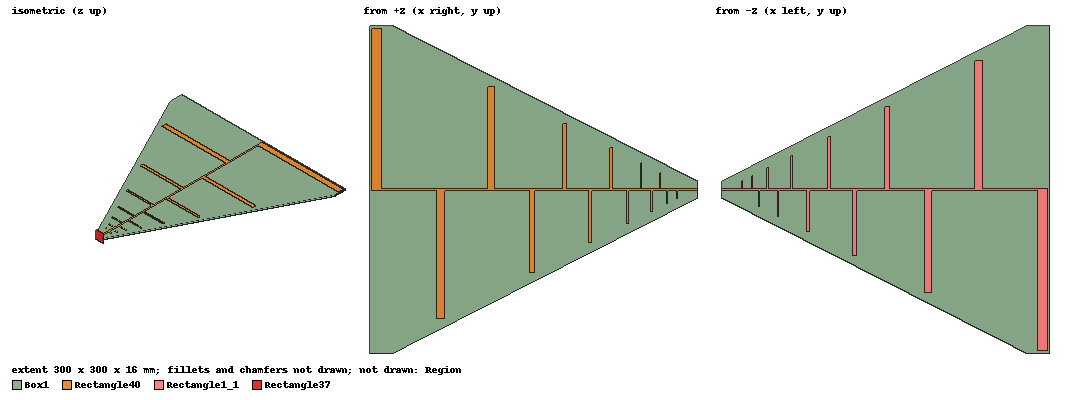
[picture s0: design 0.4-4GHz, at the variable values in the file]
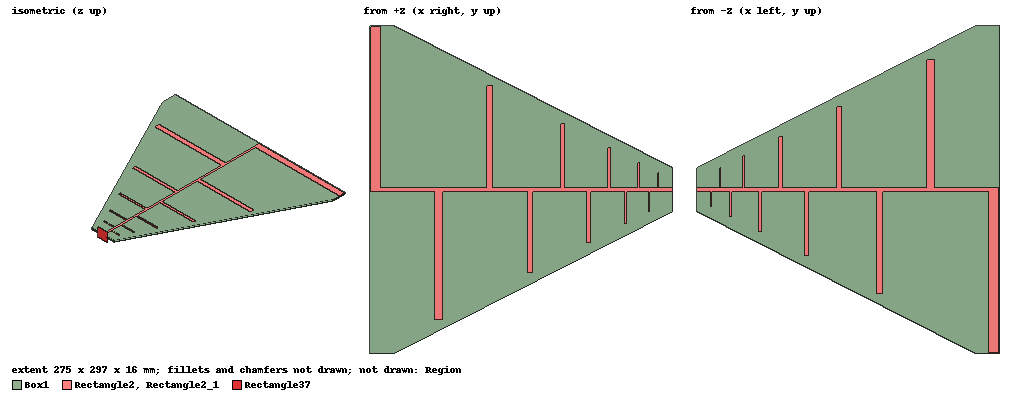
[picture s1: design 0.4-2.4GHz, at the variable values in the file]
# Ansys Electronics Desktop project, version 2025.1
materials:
  vacuum: permittivity=1
  FR4_epoxy: permittivity=4.4 dielectric_loss_tangent=0.02
  Rogers RO4350 (tm): permittivity=3.66 dielectric_loss_tangent=0.004
  Rogers RO4003 (tm): permittivity=3.55 dielectric_loss_tangent=0.0027
  pec: conductivity=1e+30

design 0.4-4GHz (HFSS, HFSS Terminal Network, model units mm)
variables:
  lx = 300mm
  ly = 300mm
  h0 = 1.6mm
  W0 = 2.5mm
  xbegin = -lx/2 + 2mm
  K1 = 1.01 -0.519 * tau0
  lambdamax = 500mm
  tau0 = 0.8  # optimise 0.78..0.81
  L0 = 295
  L1 = (L0) mm
  L2 = L0 * (tau0 ^ 1) mm
  L3 = L0 * (tau0 ^ 2) mm
  L4 = L0 * (tau0 ^ 3) mm
  L5 = L0 * (tau0 ^ 4) mm
  L6 = L0 * (tau0 ^ 5) mm
  L7 = L0 * (tau0 ^ 6) mm
  L8 = L0 * (tau0 ^ 7) mm
  L9 = L0 * (tau0 ^ 8) mm
  L10 = L0 * (tau0 ^ 9) mm
  L11 = L0 * (tau0 ^ 10) mm
  L12 = L0 * (tau0 ^ 11) mm
  L13 = L0 * (tau0 ^ 12) mm
  L14 = L0 * (tau0 ^ 13) mm
  L15 = L0 * (tau0 ^ 14) mm
  L16 = L0 * (tau0 ^ 15) mm
  L17 = L0 * (tau0 ^ 16) mm
  L18 = L0 * (tau0 ^ 17) mm
  L19 = L0 * (tau0 ^ 18) mm
  L20 = L0 * (tau0 ^ 19) mm
  L21 = L0 * (tau0 ^ 20) mm
  L22 = L0 * (tau0 ^ 21) mm
  L23 = L0 * (tau0 ^ 22) mm
  L24 = L0 * (tau0 ^ 23) mm
  L25 = L0 * (tau0 ^ 24) mm
  L26 = L0 * (tau0 ^ 25) mm
  L27 = L0 * (tau0 ^ 26) mm
  L28 = L0 * (tau0 ^ 27) mm
  L29 = L0 * (tau0 ^ 28) mm
  L30 = L0 * (tau0 ^ 29) mm
  L31 = L0 * (tau0 ^ 30) mm
  L32 = L0 * (tau0 ^ 31) mm
  L33 = L0 * (tau0 ^ 32) mm
  sigma0 = 0.1  # optimise 0.008..0.102
  d1 = 2 * L1 * sigma0
  d2 = d1 + 2 * L2 * sigma0
  d3 = d2 + 2 * L3 * sigma0
  d4 = d3 + 2 * L4 * sigma0
  d5 = d4 + 2 * L5 * sigma0
  d6 = d5 + 2 * L6 * sigma0
  d7 = d6 + 2 * L7 * sigma0
  d8 = d7 + 2 * L8 * sigma0
  d9 = d8 + 2 * L9 * sigma0
  d10 = d9 + 2 * L10 * sigma0
  d11 = d10 + 2 * L11 * sigma0
  d12 = d11 + 2 * L12 * sigma0
  d13 = d12 + 2 * L13 * sigma0
  d14 = d13 + 2 * L14 * sigma0
  d15 = d14 + 2 * L15 * sigma0
  d16 = d15 + 2 * L16 * sigma0
  d17 = d16 + 2 * L17 * sigma0
  lrho = 100
  W1 = L1 / lrho * pi
  hatl1 = 14mm
  hatw0 = 12mm
  hatl2 = 12mm
  hatl3 = 4mm
  W2 = L2 / lrho * pi
  W3 = L3 / lrho * pi
  W4 = L4 / lrho * pi
  d18 = d17 + 2 * L18 * sigma0
  d19 = d18 + 2 * L19 * sigma0
  d20 = d19 + 2 * L20 * sigma0
  d21 = d20 + 2 * L21 * sigma0
  d22 = d21 + 2 * L22 * sigma0
  d23 = d22 + 2 * L23 * sigma0
  d24 = d23 + 2 * L24 * sigma0
  d25 = d24 + 2 * L25 * sigma0
  d26 = d25 + 2 * L26 * sigma0
  d27 = d26 + 2 * L27 * sigma0
  d28 = d27 + 2 * L28 * sigma0
  d29 = d28 + 2 * L29 * sigma0
  d30 = d29 + 2 * L30 * sigma0
  d31 = d30 + 2 * L31 * sigma0
  d32 = d31 + 2 * L32 * sigma0
  d33 = d32 + 2 * L33 * sigma0
  mx = 8mm
  my = 0mm
  mx1 = 8mm
  my1 = 0mm
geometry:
  Box1 [FR4_epoxy] = box(corner=(-lx/2, -ly/2, 0mm), size=(lx, ly, -h0))
  Rectangle1 = rectangle(corner=(xbegin, W0/2, 0mm), x_size=lx / 2 - xbegin, y_size=-W0)
  Region [vacuum] = region(transverse_percentage_offset: +X=0, -X=50, +Y=50, -Y=50, +Z=50, -Z=50)
  Rectangle2 = rectangle(corner=(xbegin, 0mm, 0mm), x_size=W1, y_size=L1 / 2)
  Rectangle3 = rectangle(corner=(xbegin + d1, 0mm, 0mm), x_size=L2 / lrho * pi, y_size=-L2 / 2)
  Rectangle4 = rectangle(corner=(xbegin + d2, 0mm, 0mm), x_size=L3 / lrho * pi, y_size=L3 / 2)
  Rectangle5 = rectangle(corner=(xbegin + d3, 0mm, 0mm), x_size=L4 / lrho * pi, y_size=-L4 / 2)
  Rectangle6 = rectangle(corner=(xbegin + d4, 0mm, 0mm), x_size=L5 / lrho * pi, y_size=L5 / 2)
  Rectangle7 = rectangle(corner=(xbegin + d5, 0mm, 0mm), x_size=L6 / lrho * pi, y_size=-L6 / 2)
  Rectangle8 = rectangle(corner=(xbegin + d6, 0mm, 0mm), x_size=L7 / lrho * pi, y_size=L7 / 2)
  Rectangle9 = rectangle(corner=(xbegin + d7, 0mm, 0mm), x_size=L8 / lrho * pi, y_size=-L8 / 2)
  Rectangle10 = rectangle(corner=(xbegin + d8, 0mm, 0mm), x_size=L9 / lrho * pi, y_size=L9 / 2)
  Rectangle12 = rectangle(corner=(xbegin + d10, 0mm, 0mm), x_size=L11 / lrho * pi, y_size=L11 / 2)
  Rectangle11 = rectangle(corner=(xbegin + d9, 0mm, 0mm), x_size=L10 / lrho * pi, y_size=-L10 / 2)
  Rectangle13 = rectangle(corner=(xbegin + d11, 0mm, 0mm), x_size=L12 / lrho * pi, y_size=-L12 / 2)
  Rectangle37 = rectangle(corner=(lx/2-0mm, W0*3, h0 * 5), y_size=-W0 * 6, z_size=-h0 * 10)
  Rectangle14 = rectangle(corner=(xbegin + d12, 0mm, 0mm), x_size=L13 / lrho * pi, y_size=L13 / 2)
  Rectangle15 = rectangle(corner=(xbegin + d13, 0mm, 0mm), x_size=L14 / lrho * pi, y_size=-L14 / 2)
  Rectangle16 = rectangle(corner=(xbegin + d14, 0mm, 0mm), x_size=L15 / lrho * pi, y_size=L15 / 2)
  Rectangle1.unite(Rectangle3..Rectangle16, Rectangle2)
  Box2 = box(corner=(-200mm, 255mm, 0mm), size=(600mm, -180mm, -15mm))
  Box2.rotate(axis=Z, angle=-27deg)
  Box2_1 = Box2.duplicate_mirror(point=(0mm, 0mm, 0mm), normal=(0mm, -1mm, 0mm))
  Box2_1.unite(Box2)
  Box1.subtract(Box2_1)
  Rectangle38 = rectangle(corner=(xbegin + 30mm, 5mm, 0mm), x_size=mx, y_size=-10mm)
  Rectangle1.subtract(Rectangle38)
  Rectangle39 = rectangle(corner=(xbegin + 30mm, W0/2, 0mm), x_size=W0, y_size=-W0 - my)
  Rectangle40 = rectangle(corner=(xbegin + 30mm + mx, W0 / 2, 0mm), x_size=-W0, y_size=-W0 - my)
  Rectangle41 = rectangle(corner=(xbegin + 30mm + W0, -W0 / 2 - my, 0mm), x_size=mx - 2 * W0, y_size=W0)
  Rectangle42 = rectangle(corner=(xbegin + d1 + 20mm, 5mm, 0mm), x_size=mx1, y_size=-10mm)
  Rectangle43 = rectangle(corner=(xbegin + d1 + 20mm, W0/2, 0mm), x_size=W0, y_size=-W0 - my1)
  Rectangle44 = rectangle(corner=(xbegin + d1 + 20mm + mx, W0 / 2, 0mm), x_size=-W0, y_size=-W0 - my1)
  Rectangle45 = rectangle(corner=(xbegin + d1 + 20mm + W0, -W0 / 2 - my1, 0mm), x_size=mx1 - 2 * W0, y_size=W0)
  Rectangle1.subtract(Rectangle42)
  Rectangle1.chamfer(Vertices=Rectangle40.vertex(at (-138.732, 1.25, 0), at (-89, -1.25, 0), at (-81.5858, -1.25, 0), at (-41.8, 1.25, 0), at (-35.8687, 1.25, 0), at (-4.04, -1.25, 0), at (0.705062, -1.25, 0), at (26.168, 1.25, 0), at (29.964, 1.25, 0), at (50.3344, -1.25, 0), at (53.3712, -1.25, 0), at (69.6675, 1.25, 0)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) LeftDistance=W0 RightDistance=W0 ChamferType=Symmetric)
  Rectangle40.unite(Rectangle41, Rectangle39)
  Rectangle44.unite(Rectangle45, Rectangle43)
  Rectangle40_1 = Rectangle40.duplicate_mirror(point=(0mm, 0mm, 0.8mm), normal=(0mm, 0mm, 1mm))
  Rectangle44_1 = Rectangle44.duplicate_mirror(point=(0mm, 0mm, 0.8mm), normal=(0mm, 0mm, 1mm))
  Rectangle1_1 = Rectangle1.duplicate_mirror(point=(0mm, 0mm, 0.8mm), normal=(0mm, 0mm, 1mm))
  [Rectangle1_1, Rectangle40_1, Rectangle44_1].rotate(axis=X, angle=180deg)
  Rectangle40.unite(Rectangle1, Rectangle44)
  Rectangle1_1.unite(Rectangle44_1, Rectangle40_1)
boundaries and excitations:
  Rad1: Radiation Objects=Region
  PerfE5: Perfect E Objects=Rectangle1_1
  PerfE6: Perfect E Objects=Rectangle40
  1: Wave Port Objects=Rectangle37 WavePortType=Modal NumModes=1 Modes{Mode1{IntLine{(150000mm, 0mm, -2000mm) -> (150, 0, 8)} CharImp=Zpi}}
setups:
  Analysis: HfssDriven MultipleAdaptiveFreqsSetup{AdaptAt{Frequency=435MHz Delta=0.02} AdaptAt{Frequency=2.4GHz Delta=0.02}} MaximumPasses=25 MinimumPasses=1 MinimumConvergedPasses=1 PercentRefinement=30 BasisOrder=1 PortAccuracy=2 DrivenSolverType="Direct Solver"
    sweep Sweep: 200MHz to 6000MHz, 401 points; Type=Interpolating InterpTolerance=0.5 InterpMaxSolns=250 PassivityErrorTolerance=0.0001
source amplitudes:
  1:1: 1V 0deg
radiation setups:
  3d: Infinite Sphere Theta=0deg..180deg step 2deg Phi=-180deg..180deg step 2deg
  2d: Infinite Sphere Theta=0deg..180deg step 90deg Phi=-180deg..180deg step 2deg
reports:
  Terminal S Parameter Plot 1: dB(St(1,1)) vs Freq on Analysis : Sweep [W0=all tau0=all sigma0=all lrho=all mx=all my=all mx1=all my1=all]; markers MX3 at x=4.4497608e+08, MX1 at x=2.3971292e+09, MY1 at y=-10.0417
  Terminal Z Parameter Plot 1: mag(Zt(1,1)) vs Freq on Analysis : Sweep [W0=all mx=all my=all mx1=all my1=all]; markers MX1 at x=2.9807384e+09, MY1 at y=49.8102
  Realized Gain Plot 2: dB(RealizedGainTotal) vs Phi, Theta on Analysis : LastAdaptive, 3d
  Realized Gain Plot 4: dB(RealizedGainTotal) vs Phi on Analysis : LastAdaptive, 2d [Theta=90deg Freq=all]; markers MX1 at x=-3.1312459, MX2 at x=0.0054456451
  Terminal Port Zo Plot 2: mag(Zot(1,1)) vs Freq on Analysis : Sweep [W0=all]
  Realized Gain Plot 5: dB(RealizedGainTotal) vs Phi, Theta on Analysis : LastAdaptive, 3d

design 0.4-2.4GHz (HFSS, HFSS Modal Network, model units mm)
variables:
  lx = 275mm
  ly = 297mm
  h0 = 1.6mm
  W0 = 3mm
  xbegin = -lx/2 + 1mm
  K1 = 1.01 -0.519 * tau0
  lambdamax = 500mm
  tau0 = 0.799  # optimise 0.78..0.81
  L0 = 295
  L1 = (L0) mm
  L2 = L0 * (tau0 ^ 1) mm
  L3 = L0 * (tau0 ^ 2) mm
  L4 = L0 * (tau0 ^ 3) mm
  L5 = L0 * (tau0 ^ 4) mm
  L6 = L0 * (tau0 ^ 5) mm
  L7 = L0 * (tau0 ^ 6) mm
  L8 = L0 * (tau0 ^ 7) mm
  L9 = L0 * (tau0 ^ 8) mm
  L10 = L0 * (tau0 ^ 9) mm
  L11 = L0 * (tau0 ^ 10) mm
  L12 = L0 * (tau0 ^ 11) mm
  L13 = L0 * (tau0 ^ 12) mm
  L14 = L0 * (tau0 ^ 13) mm
  L15 = L0 * (tau0 ^ 14) mm
  L16 = L0 * (tau0 ^ 15) mm
  L17 = L0 * (tau0 ^ 16) mm
  L18 = L0 * (tau0 ^ 17) mm
  L19 = L0 * (tau0 ^ 18) mm
  L20 = L0 * (tau0 ^ 19) mm
  L21 = L0 * (tau0 ^ 20) mm
  L22 = L0 * (tau0 ^ 21) mm
  L23 = L0 * (tau0 ^ 22) mm
  L24 = L0 * (tau0 ^ 23) mm
  L25 = L0 * (tau0 ^ 24) mm
  L26 = L0 * (tau0 ^ 25) mm
  L27 = L0 * (tau0 ^ 26) mm
  L28 = L0 * (tau0 ^ 27) mm
  L29 = L0 * (tau0 ^ 28) mm
  L30 = L0 * (tau0 ^ 29) mm
  L31 = L0 * (tau0 ^ 30) mm
  L32 = L0 * (tau0 ^ 31) mm
  L33 = L0 * (tau0 ^ 32) mm
  sigma0 = 0.099  # optimise 0.008..0.102
  d1 = 2 * L1 * sigma0
  d2 = d1 + 2 * L2 * sigma0
  d3 = d2 + 2 * L3 * sigma0
  d4 = d3 + 2 * L4 * sigma0
  d5 = d4 + 2 * L5 * sigma0
  d6 = d5 + 2 * L6 * sigma0
  d7 = d6 + 2 * L7 * sigma0
  d8 = d7 + 2 * L8 * sigma0
  d9 = d8 + 2 * L9 * sigma0
  d10 = d9 + 2 * L10 * sigma0
  d11 = d10 + 2 * L11 * sigma0
  d12 = d11 + 2 * L12 * sigma0
  d13 = d12 + 2 * L13 * sigma0
  d14 = d13 + 2 * L14 * sigma0
  d15 = d14 + 2 * L15 * sigma0
  d16 = d15 + 2 * L16 * sigma0
  d17 = d16 + 2 * L17 * sigma0
  lrho = 100
  W1 = L1 / lrho * pi
  hatl1 = 14mm
  hatw0 = 12mm
  hatl2 = 12mm
  hatl3 = 4mm
  W2 = L2 / lrho * pi
  W3 = L3 / lrho * pi
  W4 = L4 / lrho * pi
  d18 = d17 + 2 * L18 * sigma0
  d19 = d18 + 2 * L19 * sigma0
  d20 = d19 + 2 * L20 * sigma0
  d21 = d20 + 2 * L21 * sigma0
  d22 = d21 + 2 * L22 * sigma0
  d23 = d22 + 2 * L23 * sigma0
  d24 = d23 + 2 * L24 * sigma0
  d25 = d24 + 2 * L25 * sigma0
  d26 = d25 + 2 * L26 * sigma0
  d27 = d26 + 2 * L27 * sigma0
  d28 = d27 + 2 * L28 * sigma0
  d29 = d28 + 2 * L29 * sigma0
  d30 = d29 + 2 * L30 * sigma0
  d31 = d30 + 2 * L31 * sigma0
  d32 = d31 + 2 * L32 * sigma0
  d33 = d32 + 2 * L33 * sigma0
  mx = 8mm
  my = 0mm
  mx1 = 8mm
  my1 = 0mm
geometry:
  Box1 [FR4_epoxy] = box(corner=(-lx/2, -ly/2, 0mm), size=(lx, ly, -h0))
  Rectangle1 = rectangle(corner=(xbegin, W0/2, 0mm), x_size=lx / 2 - xbegin, y_size=-W0)
  Region [vacuum] = region(transverse_percentage_offset: +X=0, -X=50, +Y=50, -Y=50, +Z=50, -Z=50)
  Rectangle2 = rectangle(corner=(xbegin, 0mm, 0mm), x_size=W1, y_size=L1 / 2)
  Rectangle3 = rectangle(corner=(xbegin + d1, 0mm, 0mm), x_size=L2 / lrho * pi, y_size=-L2 / 2)
  Rectangle4 = rectangle(corner=(xbegin + d2, 0mm, 0mm), x_size=L3 / lrho * pi, y_size=L3 / 2)
  Rectangle5 = rectangle(corner=(xbegin + d3, 0mm, 0mm), x_size=L4 / lrho * pi, y_size=-L4 / 2)
  Rectangle6 = rectangle(corner=(xbegin + d4, 0mm, 0mm), x_size=L5 / lrho * pi, y_size=L5 / 2)
  Rectangle7 = rectangle(corner=(xbegin + d5, 0mm, 0mm), x_size=L6 / lrho * pi, y_size=-L6 / 2)
  Rectangle8 = rectangle(corner=(xbegin + d6, 0mm, 0mm), x_size=L7 / lrho * pi, y_size=L7 / 2)
  Rectangle9 = rectangle(corner=(xbegin + d7, 0mm, 0mm), x_size=L8 / lrho * pi, y_size=-L8 / 2)
  Rectangle10 = rectangle(corner=(xbegin + d8, 0mm, 0mm), x_size=L9 / lrho * pi, y_size=L9 / 2)
  Rectangle12 = rectangle(corner=(xbegin + d10, 0mm, 0mm), x_size=L11 / lrho * pi, y_size=L11 / 2)
  Rectangle11 = rectangle(corner=(xbegin + d9, 0mm, 0mm), x_size=L10 / lrho * pi, y_size=-L10 / 2)
  Rectangle37 = rectangle(corner=(lx/2-0mm, W0*3, h0 * 5), y_size=-W0 * 6, z_size=-h0 * 10)
  Box2 = box(corner=(-200mm, 260mm, 0mm), size=(600mm, -180mm, -15mm))
  Box2.rotate(axis=Z, angle=-27deg)
  Box2_1 = Box2.duplicate_mirror(point=(0mm, 0mm, 0mm), normal=(0mm, -1mm, 0mm))
  Box2_1.unite(Box2)
  Box1.subtract(Box2_1)
  Rectangle2.unite(Rectangle1, Rectangle3..Rectangle12)
  Rectangle2.chamfer(Vertices=Rectangle2.vertex(at (-127.232, 1.5, 0), at (-78.09, -1.5, 0), at (-70.6851, -1.5, 0), at (-31.4204, 1.5, 0), at (-25.5039, 1.5, 0), at (5.86859, -1.5, 0), at (10.5959, -1.5, 0), at (35.6625, 1.5, 0), at (39.4396, 1.5, 0), at (59.4678, -1.5, 0), at (62.4857, -1.5, 0), at (78.4883, 1.5, 0)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) LeftDistance="W0 * 1" RightDistance="W0 * 1" ChamferType=Symmetric)
  Rectangle2_1 = Rectangle2.duplicate_mirror(point=(0mm, 0mm, 0.8mm), normal=(0mm, 0mm, 1mm))
  Rectangle2_1.rotate(axis=X, angle=180deg)
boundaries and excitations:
  Rad1: Radiation Objects=Region
  PerfE1: Perfect E Objects=Rectangle2
  PerfE2: Perfect E Objects=Rectangle2_1
  1: Wave Port Objects=Rectangle37 WavePortType=Modal NumModes=1 Modes{Mode1{IntLine{(137500mm, 0mm, -2000mm) -> (137.5, 0, 8)} CharImp=Zpi}}
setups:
  Analysis: HfssDriven MultipleAdaptiveFreqsSetup{AdaptAt{Frequency=430MHz Delta=0.02} AdaptAt{Frequency=2.4GHz Delta=0.02}} MaximumPasses=25 MinimumPasses=1 MinimumConvergedPasses=1 PercentRefinement=30 BasisOrder=1 PortAccuracy=2 DrivenSolverType="Direct Solver"
    sweep Sweep: 200MHz to 3000MHz, 401 points; Type=Interpolating InterpTolerance=0.5 InterpMaxSolns=250 InterpUsePortImped=false PassivityErrorTolerance=0.0001
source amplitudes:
  1:1: 1V 0deg
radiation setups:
  3d: Infinite Sphere Theta=0deg..180deg step 2deg Phi=-180deg..180deg step 2deg
  2d: Infinite Sphere Theta=0deg..180deg step 90deg Phi=-180deg..180deg step 2deg
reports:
  Realized Gain Plot 1: dB(RealizedGainTotal) vs Phi, Theta on Analysis : LastAdaptive, 3d
  Terminal Z Parameter Plot 1: mag(Zt(1,1)) vs Freq on Analysis : Sweep [W0=all lrho=all mx=all my=all mx1=all my1=all]; markers MX1 at x=7.3557692e+08, MY1 at y=49.8102
  VSWR Plot 1: VSWR(1) vs Freq on Analysis : Sweep; markers MY1 at y=2
  S Parameter Plot1: dB(S(1,1)) vs Freq on Analysis : Sweep; markers MX1 at x=1.8931834e+09, MY1 at y=-10
  Realized Gain Plot1: dB(RealizedGainTotal) vs Phi on Analysis : LastAdaptive, 2d [Theta=90deg Freq=0.43GHz]; markers MX1 at x=0
  Realized Gain Plot3: dB(RealizedGainTotal) vs Phi, Theta on Analysis : LastAdaptive, 3d
